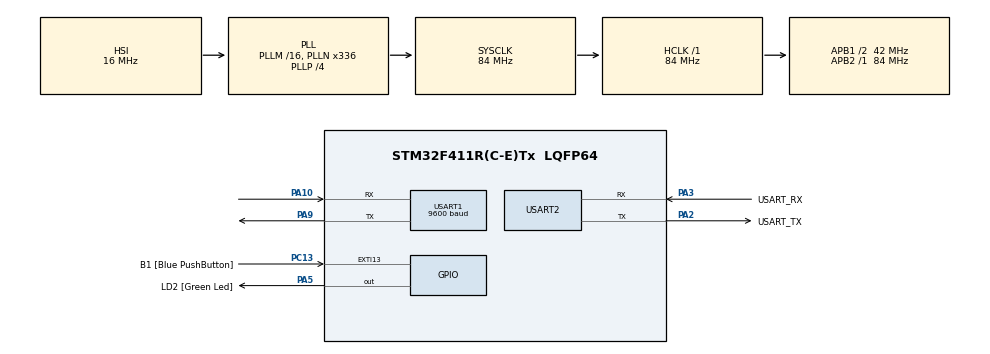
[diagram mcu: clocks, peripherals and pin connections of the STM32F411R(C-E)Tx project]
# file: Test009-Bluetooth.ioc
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Dma.Request0=USART1_RX
Dma.Request1=USART2_RX
Dma.USART1_RX.0.Direction=DMA_PERIPH_TO_MEMORY
Dma.USART1_RX.0.FIFOMode=DMA_FIFOMODE_DISABLE
Dma.USART1_RX.0.Instance=DMA2_Stream2
Dma.USART1_RX.0.MemDataAlignment=DMA_MDATAALIGN_BYTE
Dma.USART1_RX.0.MemInc=DMA_MINC_ENABLE
Dma.USART1_RX.0.Mode=DMA_CIRCULAR
Dma.USART1_RX.0.PeriphDataAlignment=DMA_PDATAALIGN_BYTE
Dma.USART1_RX.0.PeriphInc=DMA_PINC_DISABLE
Dma.USART1_RX.0.Priority=DMA_PRIORITY_LOW
Dma.USART2_RX.1.Direction=DMA_PERIPH_TO_MEMORY
Dma.USART2_RX.1.FIFOMode=DMA_FIFOMODE_DISABLE
Dma.USART2_RX.1.Instance=DMA1_Stream5
Dma.USART2_RX.1.MemDataAlignment=DMA_MDATAALIGN_BYTE
Dma.USART2_RX.1.MemInc=DMA_MINC_ENABLE
Dma.USART2_RX.1.Mode=DMA_CIRCULAR
Dma.USART2_RX.1.PeriphDataAlignment=DMA_PDATAALIGN_BYTE
Dma.USART2_RX.1.PeriphInc=DMA_PINC_DISABLE
Dma.USART2_RX.1.Priority=DMA_PRIORITY_LOW
Mcu.Family=STM32F4
Mcu.Name=STM32F411R(C-E)Tx
Mcu.Package=LQFP64
NVIC.DMA1_Stream5_IRQn=true\:0\:0\:false\:false\:true\:false\:true\:true
NVIC.DMA2_Stream2_IRQn=true\:0\:0\:false\:false\:true\:false\:true\:true
NVIC.PriorityGroup=NVIC_PRIORITYGROUP_0
NVIC.USART1_IRQn=true\:0\:0\:false\:false\:true\:true\:true\:true
NVIC.USART2_IRQn=true\:0\:0\:false\:false\:true\:true\:true\:true
PA10.Mode=Asynchronous
PA10.Signal=USART1_RX
PA13.GPIO_Label=TMS
PA13.Mode=Serial_Wire
PA13.Signal=SYS_JTMS-SWDIO
PA14.GPIO_Label=TCK
PA14.Mode=Serial_Wire
PA14.Signal=SYS_JTCK-SWCLK
PA2.GPIO_Label=USART_TX
PA2.Mode=Asynchronous
PA2.Signal=USART2_TX
PA3.GPIO_Label=USART_RX
PA3.Mode=Asynchronous
PA3.Signal=USART2_RX
PA5.GPIO_Label=LD2 [Green Led]
PA5.Signal=GPIO_Output
PA9.Mode=Asynchronous
PA9.Signal=USART1_TX
PB3.GPIO_Label=SWO
PB3.Signal=SYS_JTDO-SWO
PC13-ANTI_TAMP.GPIO_Label=B1 [Blue PushButton]
PC13-ANTI_TAMP.GPIO_ModeDefaultEXTI=GPIO_MODE_IT_FALLING
PC13-ANTI_TAMP.Signal=GPXTI13
PC14-OSC32_IN.Mode=LSE-External-Oscillator
PC14-OSC32_IN.Signal=RCC_OSC32_IN
PC15-OSC32_OUT.Mode=LSE-External-Oscillator
PC15-OSC32_OUT.Signal=RCC_OSC32_OUT
PH0\ -\ OSC_IN.Mode=HSE-External-Clock-Source
PH0\ -\ OSC_IN.Signal=RCC_OSC_IN
PH1\ -\ OSC_OUT.Mode=HSE-External-Clock-Source
PH1\ -\ OSC_OUT.Signal=RCC_OSC_OUT
ProjectManager.HeapSize=0x200
ProjectManager.StackSize=0x400
ProjectManager.TargetToolchain=STM32CubeIDE
RCC.48MHZClocksFreq_Value=84000000
RCC.AHBFreq_Value=84000000
RCC.APB1CLKDivider=RCC_HCLK_DIV2
RCC.APB1Freq_Value=42000000
RCC.APB1TimFreq_Value=84000000
RCC.APB2Freq_Value=84000000
RCC.APB2TimFreq_Value=84000000
RCC.CortexFreq_Value=84000000
RCC.FLatency-AdvancedSettings=FLASH_LATENCY_2
RCC.HCLKFreq_Value=84000000
RCC.HSE_VALUE=8000000
RCC.HSI_VALUE=16000000
RCC.PLLN=336
RCC.PLLP=RCC_PLLP_DIV4
RCC.SYSCLKFreq_VALUE=84000000
RCC.SYSCLKSource=RCC_SYSCLKSOURCE_PLLCLK
RCC.VCOOutputFreq_Value=336000000
USART1.BaudRate=9600
USART1.VirtualMode=VM_ASYNC
USART2.VirtualMode=VM_ASYNC
board=NUCLEO-F411RE

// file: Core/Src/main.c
/* USER CODE BEGIN Header */
/**
  ******************************************************************************
  * @file           : main.c
  * @brief          : Main program body
  ******************************************************************************
  * @attention
  *
  * Copyright (c) 2025 STMicroelectronics.
  * All rights reserved.
  *
  * This software is licensed under terms that can be found in the LICENSE file
  * in the root directory of this software component.
  * If no LICENSE file comes with this software, it is provided AS-IS.
  *
  ******************************************************************************
  */
/* USER CODE END Header */
#include "main.h"

UART_HandleTypeDef huart1;
UART_HandleTypeDef huart2;
DMA_HandleTypeDef hdma_usart1_rx;
DMA_HandleTypeDef hdma_usart2_rx;

void SystemClock_Config(void);
static void MX_GPIO_Init(void);
static void MX_DMA_Init(void);
static void MX_USART2_UART_Init(void);
static void MX_USART1_UART_Init(void);

/* USER CODE BEGIN 0 */
//**For DMA **//
#define BUF_SIZE 100
char dum1, dum2; //dummy
char buf1[BUF_SIZE], buf2[BUF_SIZE]; //DMA buffer for UART1, UART2
int h1 = 0,h2 = 0,t1 = 0,t2 = 0 ; // head & tail for buf1 , buf2

void HAL_UART_RxCpltCallback(UART_HandleTypeDef *huart)
{
	if(huart == &huart1) //from bluetooth
	{
		buf1[t1++] = dum1; //수신된 1byte 데이터가 buf1 에 쌓임
		HAL_UART_Transmit(&huart2, &dum1, 1, 10);//10ms Timeout , 수신된 데이터를 화면에 출력하기 위함.
		//HAL_UART_Transmit(&huart2, buf1 + t1 - 1 , 1, 10);

		if(dum1 =='\r')
		{
			CheckCMD(buf1);
		}
		HAL_UART_Receive_IT(&huart1, &dum1, 1); //두 번째 인터럽트 예약
	}
	else if(huart == &huart2)//Keyboard Input from putty
	{
		buf2[t2++] = dum2; //Keyboard Input
		HAL_UART_Transmit(&huart2, &dum2 , 1 , 10); //Terminal Echo, for display
		//HAL_UART_Transmit(&huart2, buf2 + t2 -1 , 1 , 10);

		if(dum2 == '\r') //Carriage Return : 0x0d
		{
			HAL_UART_Transmit(&huart2, "\n" , 1 , 10);//Terminal Echo
			buf2[t2++] = '\n'; //append LF for EOL
			HAL_UART_Transmit(&huart1, buf2 , t2 , 10);//bluetooth로 buf2를 t2만큼 전송 / AT Command
			//HAL_UART_Transmit(&huart1, "\n" , 1 , 10);
			t2 = 0;
		}
		HAL_UART_Receive_IT(&huart2, &dum2, 1);
	}
}

void Trim(char *dest, char *s)// s = "		x x x		\t\r\n" ==> "x x x"
{
	int h = 0, t = strlen(s) - 1;

	while(1)//head index
	{
		if(*(s+h) == ' '|| *(s+h)=='\t'||*(s+h) == '\r'||*(s+h)=='\n')	h++;
		else break;
	}
	while(1)//tail index
	{
		if(*(s+t) == ' '|| *(s+t)=='\t'||*(s+t) == '\r'||*(s+t)=='\n')	t--;
				else break;
	}
	strncpy(dest, s+h, t-h+1);
}

void CheckCMD(char *bb) //bb = "	LED	1	" ,->  str = "LED 1"
{
	char str[100];
	Trim(str, bb); //str : dest , bb : src
	if(strncmp(str, "LED", 3) == 0) //compare only "LED"
	{
		if(str[4] == '1')
		{
			HAL_GPIO_WritePin(LD2_GPIO_Port, LD2_Pin, 1);
		}
		else if(str[4] == '0')
		{
			HAL_GPIO_WritePin(LD2_GPIO_Port, LD2_Pin, 0);
		}
	}
}

/* USER CODE END 0 */

int main(void)
{

  /* MCU Configuration--------------------------------------------------------*/

  /* Reset of all peripherals, Initializes the Flash interface and the Systick. */
  HAL_Init();

  /* Configure the system clock */
  SystemClock_Config();

  /* Initialize all configured peripherals */
  MX_GPIO_Init();
  MX_DMA_Init();
  MX_USART2_UART_Init();
  MX_USART1_UART_Init();

  /* USER CODE BEGIN 2 */
  ProgramStart("Bluetooth");
//  HAL_UART_Receive_DMA(&huart1,buf1,BUF_SIZE);
//  HAL_UART_Receive_DMA(&huart1,buf2,BUF_SIZE);
  HAL_UART_Receive_IT(&huart1, &dum1 , 1);
  HAL_UART_Receive_IT(&huart2, &dum2 , 1);

  /* USER CODE END 2 */

  /* Infinite loop */
  /* USER CODE BEGIN WHILE */
  //char dd[];
  while (1)
  {
	  //if(GetBuffer(buf1))
    /* USER CODE END WHILE */

  }
}

void SystemClock_Config(void)
{
  RCC_OscInitTypeDef RCC_OscInitStruct = {0};
  RCC_ClkInitTypeDef RCC_ClkInitStruct = {0};

  /** Configure the main internal regulator output voltage
  */
  __HAL_RCC_PWR_CLK_ENABLE();
  __HAL_PWR_VOLTAGESCALING_CONFIG(PWR_REGULATOR_VOLTAGE_SCALE1);

  /** Initializes the RCC Oscillators according to the specified parameters
  * in the RCC_OscInitTypeDef structure.
  */
  RCC_OscInitStruct.OscillatorType = RCC_OSCILLATORTYPE_HSI;
  RCC_OscInitStruct.HSIState = RCC_HSI_ON;
  RCC_OscInitStruct.HSICalibrationValue = RCC_HSICALIBRATION_DEFAULT;
  RCC_OscInitStruct.PLL.PLLState = RCC_PLL_ON;
  RCC_OscInitStruct.PLL.PLLSource = RCC_PLLSOURCE_HSI;
  RCC_OscInitStruct.PLL.PLLM = 16;
  RCC_OscInitStruct.PLL.PLLN = 336;
  RCC_OscInitStruct.PLL.PLLP = RCC_PLLP_DIV4;
  RCC_OscInitStruct.PLL.PLLQ = 4;
  if (HAL_RCC_OscConfig(&RCC_OscInitStruct) != HAL_OK)
  {
    Error_Handler();
  }

  /** Initializes the CPU, AHB and APB buses clocks
  */
  RCC_ClkInitStruct.ClockType = RCC_CLOCKTYPE_HCLK|RCC_CLOCKTYPE_SYSCLK
                              |RCC_CLOCKTYPE_PCLK1|RCC_CLOCKTYPE_PCLK2;
  RCC_ClkInitStruct.SYSCLKSource = RCC_SYSCLKSOURCE_PLLCLK;
  RCC_ClkInitStruct.AHBCLKDivider = RCC_SYSCLK_DIV1;
  RCC_ClkInitStruct.APB1CLKDivider = RCC_HCLK_DIV2;
  RCC_ClkInitStruct.APB2CLKDivider = RCC_HCLK_DIV1;

  if (HAL_RCC_ClockConfig(&RCC_ClkInitStruct, FLASH_LATENCY_2) != HAL_OK)
  {
    Error_Handler();
  }
}

static void MX_USART1_UART_Init(void)
{

  huart1.Instance = USART1;
  huart1.Init.BaudRate = 9600;
  huart1.Init.WordLength = UART_WORDLENGTH_8B;
  huart1.Init.StopBits = UART_STOPBITS_1;
  huart1.Init.Parity = UART_PARITY_NONE;
  huart1.Init.Mode = UART_MODE_TX_RX;
  huart1.Init.HwFlowCtl = UART_HWCONTROL_NONE;
  huart1.Init.OverSampling = UART_OVERSAMPLING_16;
  if (HAL_UART_Init(&huart1) != HAL_OK)
  {
    Error_Handler();
  }

}

static void MX_USART2_UART_Init(void)
{

  huart2.Instance = USART2;
  huart2.Init.BaudRate = 115200;
  huart2.Init.WordLength = UART_WORDLENGTH_8B;
  huart2.Init.StopBits = UART_STOPBITS_1;
  huart2.Init.Parity = UART_PARITY_NONE;
  huart2.Init.Mode = UART_MODE_TX_RX;
  huart2.Init.HwFlowCtl = UART_HWCONTROL_NONE;
  huart2.Init.OverSampling = UART_OVERSAMPLING_16;
  if (HAL_UART_Init(&huart2) != HAL_OK)
  {
    Error_Handler();
  }

}

static void MX_DMA_Init(void)
{

  /* DMA controller clock enable */
  __HAL_RCC_DMA2_CLK_ENABLE();
  __HAL_RCC_DMA1_CLK_ENABLE();

  /* DMA interrupt init */
  /* DMA1_Stream5_IRQn interrupt configuration */
  HAL_NVIC_SetPriority(DMA1_Stream5_IRQn, 0, 0);
  HAL_NVIC_EnableIRQ(DMA1_Stream5_IRQn);
  /* DMA2_Stream2_IRQn interrupt configuration */
  HAL_NVIC_SetPriority(DMA2_Stream2_IRQn, 0, 0);
  HAL_NVIC_EnableIRQ(DMA2_Stream2_IRQn);

}

static void MX_GPIO_Init(void)
{
  GPIO_InitTypeDef GPIO_InitStruct = {0};

  /* GPIO Ports Clock Enable */
  __HAL_RCC_GPIOC_CLK_ENABLE();
  __HAL_RCC_GPIOH_CLK_ENABLE();
  __HAL_RCC_GPIOA_CLK_ENABLE();
  __HAL_RCC_GPIOB_CLK_ENABLE();

  /*Configure GPIO pin Output Level */
  HAL_GPIO_WritePin(LD2_GPIO_Port, LD2_Pin, GPIO_PIN_RESET);

  /*Configure GPIO pin : B1_Pin */
  GPIO_InitStruct.Pin = B1_Pin;
  GPIO_InitStruct.Mode = GPIO_MODE_IT_FALLING;
  GPIO_InitStruct.Pull = GPIO_NOPULL;
  HAL_GPIO_Init(B1_GPIO_Port, &GPIO_InitStruct);

  /*Configure GPIO pin : LD2_Pin */
  GPIO_InitStruct.Pin = LD2_Pin;
  GPIO_InitStruct.Mode = GPIO_MODE_OUTPUT_PP;
  GPIO_InitStruct.Pull = GPIO_NOPULL;
  GPIO_InitStruct.Speed = GPIO_SPEED_FREQ_LOW;
  HAL_GPIO_Init(LD2_GPIO_Port, &GPIO_InitStruct);

}

void Error_Handler(void)
{
  __disable_irq();
  while (1)
  {
  }
}
